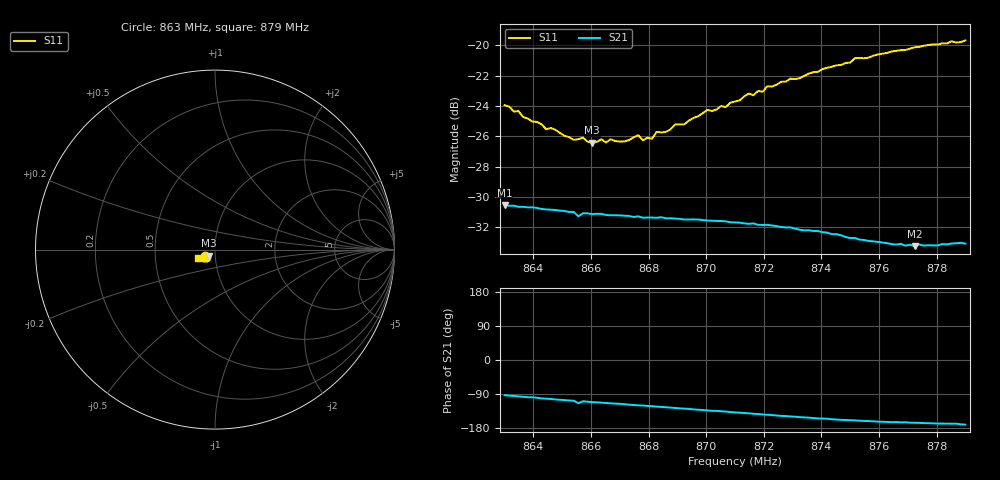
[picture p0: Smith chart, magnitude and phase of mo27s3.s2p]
# HZ S RI R 50
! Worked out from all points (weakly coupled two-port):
!   101 points, 863 MHz to 879 MHz, reference 50 ohm
!   highest |S21| = -30.52 dB at 863 MHz (marker M1); lowest = -33.2 dB at 877.24 MHz (marker M2)
!   lowest |S11| = -26.4 dB at 866.04 MHz (marker M3), VSWR 1.10, Z = 46.7 - j3.25 ohm
!   |S11| at or under -10 dB: start of sweep to end of sweep
!   S12 and S22 are empty: the file has one direction only
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8.63e8  -0.0533 -0.0344  -0.00144 -0.0297  0 0  0 0
8.6444e8  -0.0433 -0.0305  -0.00595 -0.0282  0 0  0 0
8.646e8  -0.0426 -0.0322  -0.0064 -0.028  0 0  0 0
8.654e8  -0.036 -0.033  -0.00852 -0.027  0 0  0 0
8.6556e8  -0.0367 -0.0326  -0.0112 -0.025  0 0  0 0
8.6572e8  -0.037 -0.0332  -0.00907 -0.0265  0 0  0 0
8.6604e8  -0.0329 -0.0347  -0.0101 -0.0259  0 0  0 0
8.6636e8  -0.0334 -0.0359  -0.0107 -0.0257  0 0  0 0
8.6716e8  -0.0286 -0.0388  -0.0123 -0.0246  0 0  0 0
8.6764e8  -0.0288 -0.0416  -0.0136 -0.0237  0 0  0 0
8.678e8  -0.0274 -0.0402  -0.0136 -0.0234  0 0  0 0
8.6844e8  -0.0261 -0.0446  -0.0151 -0.0226  0 0  0 0
8.6892e8  -0.0272 -0.0477  -0.016 -0.0216  0 0  0 0
8.6924e8  -0.0261 -0.0483  -0.0165 -0.0209  0 0  0 0
8.7004e8  -0.0288 -0.0541  -0.0181 -0.0194  0 0  0 0
8.71e8  -0.0304 -0.0578  -0.0195 -0.0174  0 0  0 0
8.7196e8  -0.0348 -0.0611  -0.0206 -0.0152  0 0  0 0
8.7212e8  -0.0373 -0.0631  -0.0209 -0.0149  0 0  0 0
8.7372e8  -0.0471 -0.0666  -0.0218 -0.011  0 0  0 0
8.7644e8  -0.0718 -0.0629  -0.0213 -0.00612  0 0  0 0
8.7724e8  -0.0783 -0.0598  -0.0211 -0.0054  0 0  0 0
8.79e8  -0.0923 -0.0475  -0.0219 -0.00365  0 0  0 0
